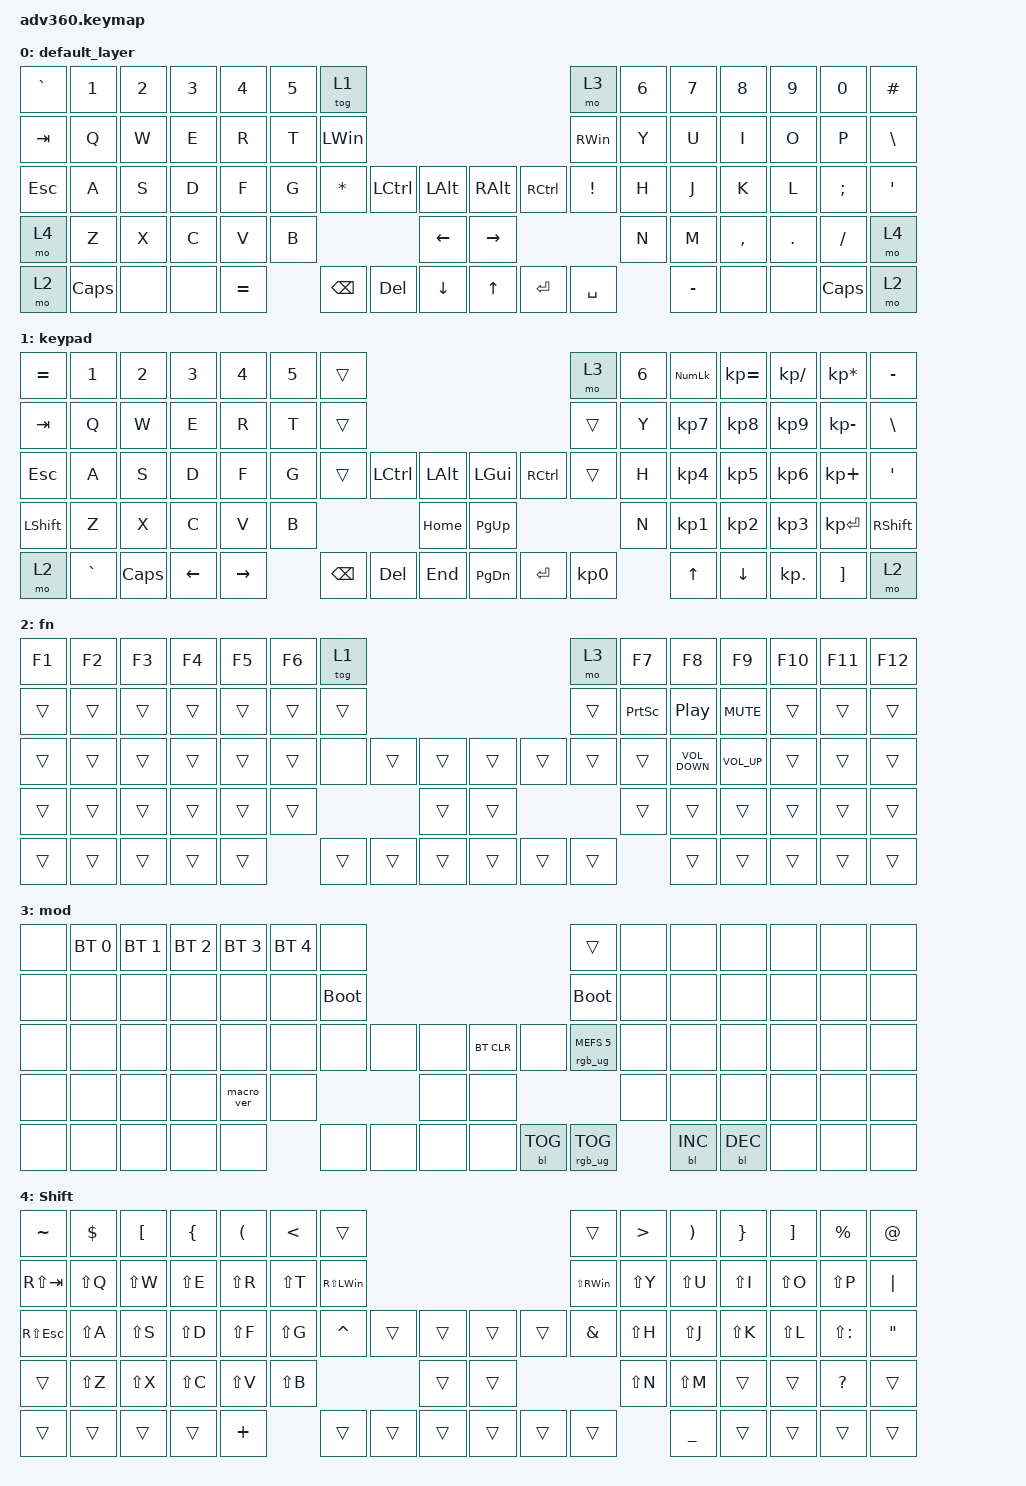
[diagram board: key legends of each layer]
#include <behaviors.dtsi>
#include <dt-bindings/zmk/backlight.h>
#include <dt-bindings/zmk/bt.h>
#include <dt-bindings/zmk/keys.h>
#include <dt-bindings/zmk/rgb.h>

/ {
    behaviors {
        #include "macros.dtsi"
      #include "version.dtsi"
      #ifndef VERSION_MACRO

        macro_ver: macro_ver {
            compatible = "zmk,behavior-macro";
            label = "macro_version";
            #binding-cells = <0>;
            bindings = <&kp RET>;
        };

        #endif

        hm: homerow_mods {
            compatible = "zmk,behavior-hold-tap";
            label = "HOMEROW_MODS";
            #binding-cells = <2>;
            tapping-term-ms = <200>;
            quick_tap_ms = <175>;
            flavor = "tap-preferred";
            bindings = <&kp>, <&kp>;
        };
    };

    macros {
    };

    keymap {
        compatible = "zmk,keymap";

        default_layer {
            bindings = <
&kp GRAVE  &kp N1    &kp NUMBER_2  &kp NUMBER_3  &kp NUMBER_4  &kp N5  &tog 1                                                                   &mo 3          &kp NUMBER_6  &kp N7     &kp N8     &kp N9   &kp N0    &kp HASH
&kp TAB    &kp Q     &kp W         &kp E         &kp R         &kp T   &kp LEFT_WIN                                                             &kp RIGHT_WIN  &kp Y         &kp U      &kp I      &kp O    &kp P     &kp BSLH
&kp ESC    &kp A     &kp S         &kp D         &kp F         &kp G   &kp ASTERISK  &kp LCTRL  &kp LALT            &kp RIGHT_ALT    &kp RCTRL  &kp EXCL       &kp H         &kp J      &kp K      &kp L    &kp SEMI  &kp SQT
&mo 4      &kp Z     &kp X         &kp C         &kp V         &kp B                            &kp LEFT            &kp RIGHT_ARROW                            &kp N         &kp M      &kp COMMA  &kp DOT  &kp FSLH  &mo 4
&mo 2      &kp CAPS  &none         &none         &kp EQUAL             &kp BSPC      &kp DEL    &kp DOWN_ARROW      &kp UP_ARROW     &kp ENTER  &kp SPACE                    &kp MINUS  &none      &none    &kp CAPS  &mo 2
            >;
        };

        keypad {
            bindings = <
&kp EQUAL  &kp N1     &kp N2    &kp N3    &kp N4     &kp N5  &trans                                                   &mo 3      &kp N6  &kp KP_NUM  &kp KP_EQUAL  &kp KP_DIVIDE  &kp KP_MULTIPLY  &kp MINUS
&kp TAB    &kp Q      &kp W     &kp E     &kp R      &kp T   &trans                                                   &trans     &kp Y   &kp KP_N7   &kp KP_N8     &kp KP_N9      &kp KP_MINUS     &kp BSLH
&kp ESC    &kp A      &kp S     &kp D     &kp F      &kp G   &trans    &kp LCTRL  &kp LALT      &kp LGUI   &kp RCTRL  &trans     &kp H   &kp KP_N4   &kp KP_N5     &kp KP_N6      &kp KP_PLUS      &kp SQT
&kp LSHFT  &kp Z      &kp X     &kp C     &kp V      &kp B                        &kp HOME      &kp PG_UP                        &kp N   &kp KP_N1   &kp KP_N2     &kp KP_N3      &kp KP_ENTER     &kp RSHFT
&mo 2      &kp GRAVE  &kp CAPS  &kp LEFT  &kp RIGHT          &kp BSPC  &kp DEL    &kp END       &kp PG_DN  &kp ENTER  &kp KP_N0          &kp UP      &kp DOWN      &kp KP_DOT     &kp RBKT         &mo 2
            >;
        };

        fn {
            bindings = <
&kp F1  &kp F2  &kp F3  &kp F4  &kp F5  &kp F6  &tog 1                                      &mo 3   &kp F7           &kp F8             &kp F9           &kp F10  &kp F11  &kp F12
&trans  &trans  &trans  &trans  &trans  &trans  &trans                                      &trans  &kp PRINTSCREEN  &kp C_PLAY_PAUSE   &kp C_MUTE       &trans   &trans   &trans
&trans  &trans  &trans  &trans  &trans  &trans  &none   &trans  &trans      &trans  &trans  &trans  &trans           &kp C_VOLUME_DOWN  &kp C_VOLUME_UP  &trans   &trans   &trans
&trans  &trans  &trans  &trans  &trans  &trans                  &trans      &trans                  &trans           &trans             &trans           &trans   &trans   &trans
&trans  &trans  &trans  &trans  &trans          &trans  &trans  &trans      &trans  &trans  &trans                   &trans             &trans           &trans   &trans   &trans
            >;
        };

        mod {
            bindings = <
&none  &bt BT_SEL 0  &bt BT_SEL 1  &bt BT_SEL 2  &bt BT_SEL 3  &bt BT_SEL 4  &none                                                  &trans                  &none  &none       &none       &none  &none  &none
&none  &none         &none         &none         &none         &none         &bootloader                                            &bootloader             &none  &none       &none       &none  &none  &none
&none  &none         &none         &none         &none         &none         &none        &none  &none      &bt BT_CLR  &none       &rgb_ug RGB_MEFS_CMD 5  &none  &none       &none       &none  &none  &none
&none  &none         &none         &none         &macro_ver    &none                             &none      &none                                           &none  &none       &none       &none  &none  &none
&none  &none         &none         &none         &none                       &none        &none  &none      &none       &bl BL_TOG  &rgb_ug RGB_TOG                &bl BL_INC  &bl BL_DEC  &none  &none  &none
            >;
        };

        Shift {
            bindings = <
&kp TILDE    &kp DOLLAR  &kp LEFT_BRACKET  &kp LEFT_BRACE  &kp LEFT_PARENTHESIS  &kp LESS_THAN  &trans                                                &trans             &kp GREATER_THAN  &kp RIGHT_PARENTHESIS  &kp RIGHT_BRACE  &kp RIGHT_BRACKET  &kp PERCENT    &kp AT
&kp RS(TAB)  &kp LS(Q)   &kp LS(W)         &kp LS(E)       &kp LS(R)             &kp LS(T)      &kp RS(LEFT_WIN)                                      &kp LS(RIGHT_WIN)  &kp LS(Y)         &kp LS(U)              &kp LS(I)        &kp LS(O)          &kp LS(P)      &kp PIPE
&kp RS(ESC)  &kp LS(A)   &kp LS(S)         &kp LS(D)       &kp LS(F)             &kp LS(G)      &kp CARET         &trans  &trans      &trans  &trans  &kp AMPERSAND      &kp LS(H)         &kp LS(J)              &kp LS(K)        &kp LS(L)          &kp LS(COLON)  &kp DOUBLE_QUOTES
&trans       &kp LS(Z)   &kp LS(X)         &kp LS(C)       &kp LS(V)             &kp LS(B)                                &trans      &trans                             &kp LS(N)         &kp LS(M)              &trans           &trans             &kp QUESTION   &trans
&trans       &trans      &trans            &trans          &kp PLUS                             &trans            &trans  &trans      &trans  &trans  &trans                               &kp UNDERSCORE         &trans           &trans             &trans         &trans
            >;
        };
    };
};
